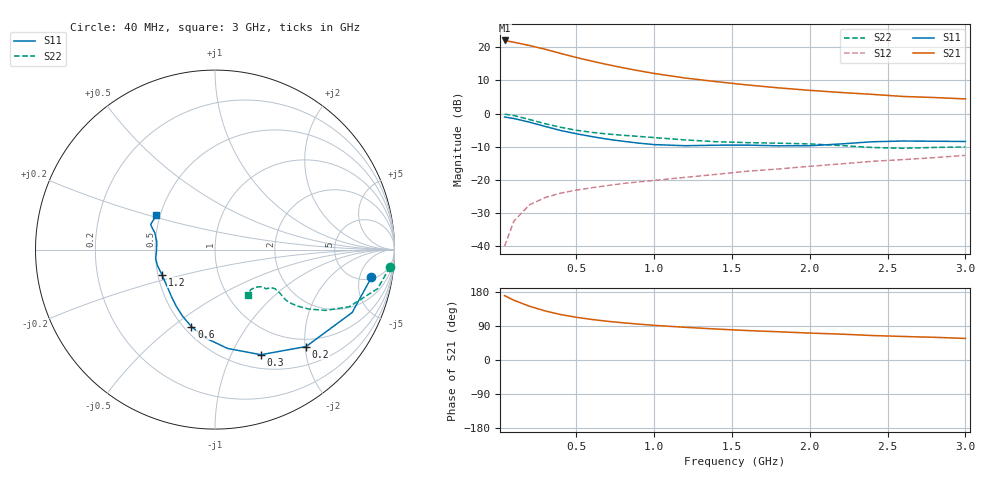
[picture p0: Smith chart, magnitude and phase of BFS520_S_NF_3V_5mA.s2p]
! Filename:  BFS520B.S2P  Version:  4.0
! Philips part #: BFS520  Date: Jun 1994
! Bias condition: Vce=3V, Ic=5mA
#  MHz  S  MA  R  50
! Freq  S11  S21  S12  S22  !GUM [dB]
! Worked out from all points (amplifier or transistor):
!   21 points, 40 MHz to 3 GHz, reference 50 ohm
!   highest |S21| = 22.0 dB at 40 MHz (marker M1)
!   |S21| within 3 dB of that: start of sweep to 327.9 MHz
!   unconditionally stable (mu >= 1): 1.028 GHz to end of sweep
!   at 300 MHz: K = 0.45, MSG = 22.4 dB, |S12| = -25.4 dB
!   at 1 GHz: K = 0.99, MSG = 16.1 dB, |S12| = -20.2 dB
!   at 3 GHz: K = 1.09, MAG = 6.7 dB, |S12| = -12.6 dB
!   lowest NFmin = 0.90 dB at 500 MHz
!   S11 on the Smith chart (normalised r, x): 40 MHz: 5.33, -7.64; 200 MHz: 0.84, -2.02; 300 MHz: 0.66, -1.31; 600 MHz: 0.55, -0.59; 1.2 GHz: 0.53, -0.16; 3 GHz: 0.48, +0.21
40  0.885 -10.1  12.64 169.8  0.01 83.8  0.979 -5.7
100  0.841 -24.6  11.87 157.6  0.024 74.5  0.932 -13.5
200  0.741 -46.8  10.6 141.8  0.042 64.1  0.812 -23.1
300  0.639 -66.4  9.319 129.5  0.054 58.5  0.703 -28.8
400  0.555 -82.8  8.055 119.9  0.063 55.7  0.62 -32.3
500  0.496 -95.9  7.005 112.8  0.07 54.6  0.56 -34.3
600  0.449 -107.0  6.167 107.0  0.076 54.7  0.52 -35.2
700  0.411 -116.4  5.475 102.2  0.082 55.4  0.491 -35.5
800  0.382 -124.5  4.898 98.2  0.088 56.4  0.47 -35.1
900  0.358 -132.4  4.426 94.7  0.093 57.5  0.452 -34.5
1000  0.34 -140.3  4.022 91.5  0.098 58.5  0.434 -33.8
1200  0.327 -154.7  3.431 86.3  0.109 60.6  0.4 -33.1
1400  0.333 -164.8  3.025 81.7  0.121 63.0  0.376 -34.2
1600  0.334 -171.7  2.694 77.7  0.135 64.2  0.364 -36.6
1800  0.326 -178.5  2.438 74.5  0.146 66.1  0.357 -37.6
2000  0.327 172.3  2.235 71.0  0.16 67.2  0.348 -37.8
2200  0.348 164.5  2.076 68.3  0.174 68.6  0.329 -38.9
2400  0.375 160.2  1.946 64.6  0.19 69.1  0.308 -42.8
2600  0.385 158.6  1.808 62.1  0.202 69.3  0.299 -48.5
2800  0.382 155.8  1.743 59.9  0.216 70.3  0.308 -52.6
3000  0.379 149.9  1.66 56.9  0.234 70.5  0.313 -54.2
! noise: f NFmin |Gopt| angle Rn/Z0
500  0.9  0.325  31  0.2
900  1.1  0.266  54  0.21
2000  1.94  0.245  174  0.17
